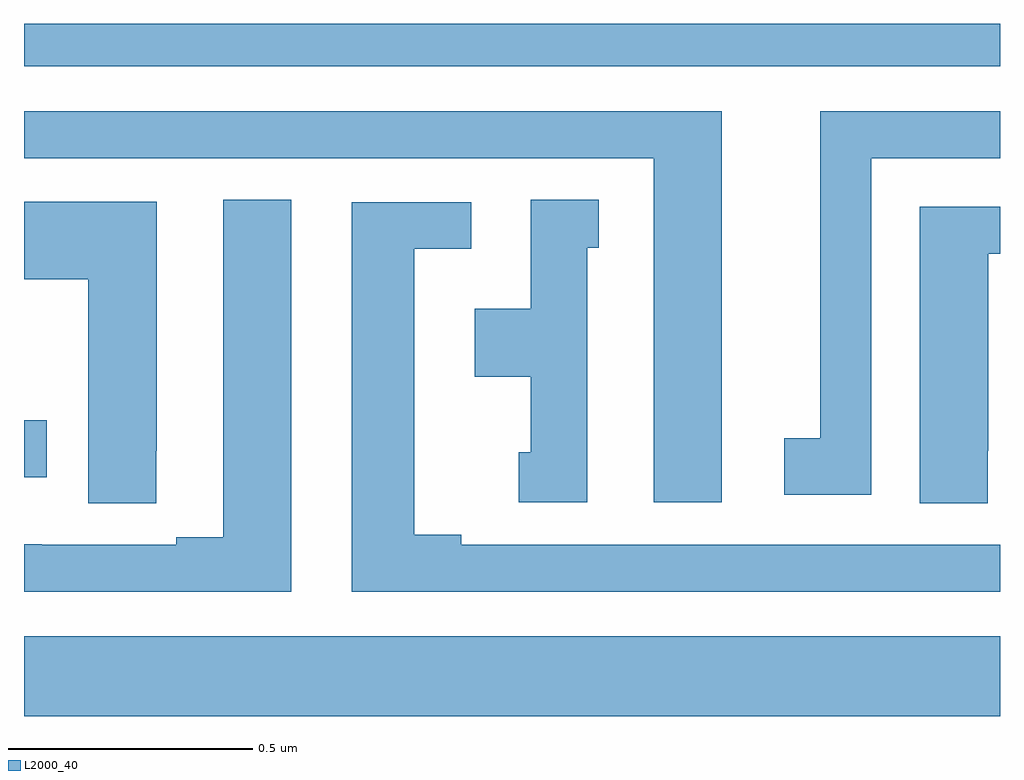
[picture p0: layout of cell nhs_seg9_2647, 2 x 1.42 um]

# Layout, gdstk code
import gdstk
lib = gdstk.Library(unit=1e-6, precision=1e-09)
def R(c, l, rs):  # rectangles x0, y0, x1, y1
    for r in rs: c.add(gdstk.rectangle(r[:2], r[2:], *l))
def P(c, l, *ps):  # polygons
    for p in ps: c.add(gdstk.Polygon(p, *l))
L2000_40 = (2000, 40)

nhs_seg9_2647 = lib.new_cell('nhs_seg9_2647')
R(nhs_seg9_2647, L2000_40, [(143,1203.08,145,1203.244), (143,1203.57,143.047,1203.687), (143,1204.412,145,1204.5)])
P(nhs_seg9_2647, L2000_40, [(144.43,1204.32),(143,1204.32),(143,1204.224),(144.29,1204.224),(144.29,1203.519),(144.43,1203.519)],
  [(144.736,1204.224),(145,1204.224),(145,1204.32),(144.632,1204.32),(144.632,1203.65),(144.558,1203.65),(144.558,1203.534),(144.736,1203.534)],
  [(143.548,1204.139),(143.408,1204.139),(143.408,1203.447),(143.312,1203.447),(143.312,1203.432),(143.036,1203.432),(143.036,1203.433),(143,1203.433),(143,1203.336),(143.548,1203.336)],
  [(144.154,1204.041),(144.178,1204.041),(144.178,1204.139),(144.038,1204.139),(144.038,1203.916),(143.924,1203.916),(143.924,1203.776),(144.038,1203.776),(144.038,1203.621),(144.014,1203.621),(144.014,1203.519),(144.154,1203.519)],
  [(143.271,1203.625),(143.272,1203.625),(143.272,1204.135),(143,1204.135),(143,1203.976),(143.132,1203.976),(143.132,1203.517),(143.271,1203.517)],
  [(145,1203.432),(143.896,1203.432),(143.896,1203.452),(143.8,1203.452),(143.8,1204.038),(143.917,1204.038),(143.917,1204.134),(143.672,1204.134),(143.672,1203.336),(145,1203.336)],
  [(144.975,1203.625),(144.976,1203.625),(144.976,1204.028),(145,1204.028),(145,1204.125),(144.836,1204.125),(144.836,1203.517),(144.975,1203.517)])

lib.write_gds('nhs_seg9_2647.gds')
